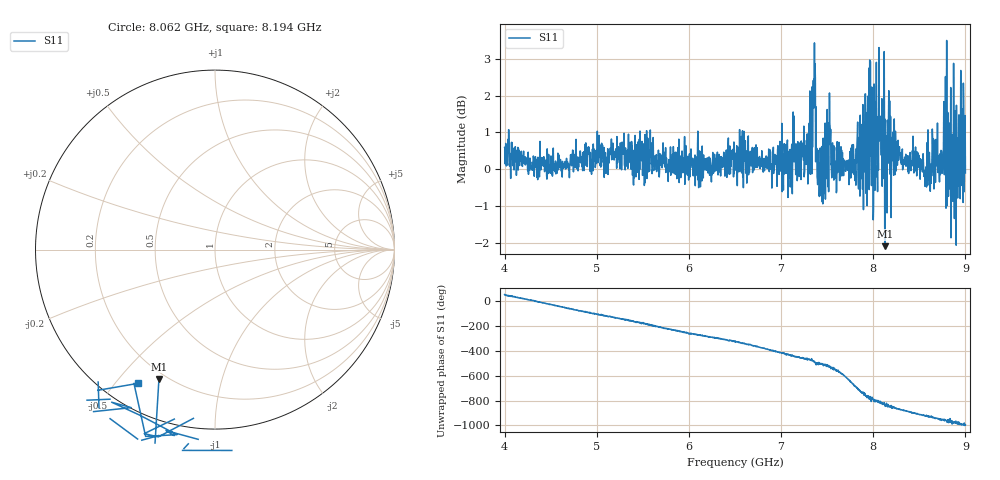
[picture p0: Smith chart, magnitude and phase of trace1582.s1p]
! Created with skrf 1.8.0 (http://scikit-rf.org).
# Hz S RI R 50.0
!freq ReS11 ImS11
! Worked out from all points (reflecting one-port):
!   1601 points, 4 GHz to 9 GHz, reference 50 ohm
!   lowest |S11| = -2.1 dB at 8.125 GHz (marker M1), VSWR 8.32, Z = 8.54 - j32.2 ohm
!   phase of S11 starts at 54 deg and turns -1049 deg over the sweep
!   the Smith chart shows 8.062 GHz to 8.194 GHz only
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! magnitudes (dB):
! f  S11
! 4 GHz  0.6
! 4.625 GHz  -0.2
! 5.25 GHz  0.0
! 5.875 GHz  0.2
! 6.5 GHz  0.4
! 7.097 GHz  0.5
! 7.125 GHz  0.3
! 7.278 GHz  0.7
! 7.316 GHz  0.1
! 7.347 GHz  2.1
! 7.369 GHz  2.9
! 7.4 GHz  -0.1
! 7.438 GHz  -0.7
! 7.509 GHz  -0.5
! 7.591 GHz  0.0
! 7.75 GHz  0.1
! 7.859 GHz  1.5
! 7.962 GHz  3.0
! 7.997 GHz  0.0
! 8.05 GHz  1.4
! 8.125 GHz  -2.1
! 8.375 GHz  0.1
! 8.556 GHz  -0.2
! 8.728 GHz  -0.2
! 8.788 GHz  -1.1
! 8.841 GHz  2.2
! 8.959 GHz  1.7
! 9 GHz  -0.1
